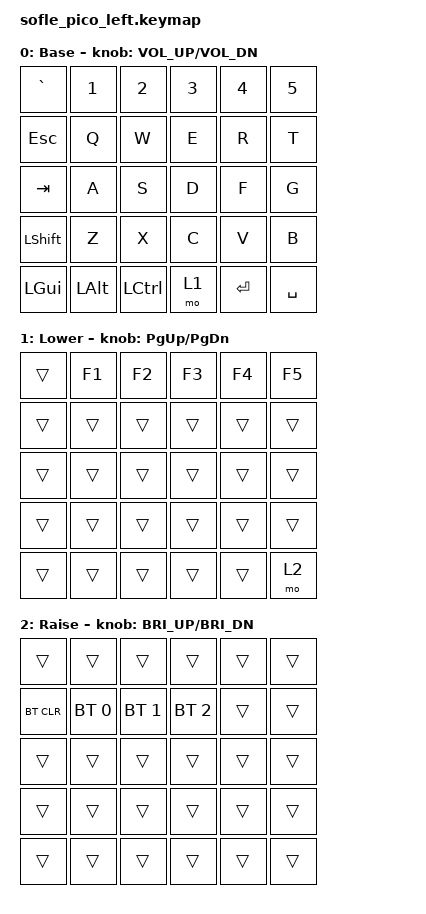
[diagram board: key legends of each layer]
#include <behaviors.dtsi>
#include <dt-bindings/zmk/keys.h>
#include <dt-bindings/zmk/bt.h>

/ {
    keymap {
        compatible = "zmk,keymap";

        default_layer {
            display-name = "Base";
            bindings = <
                &kp GRAVE  &kp N1   &kp N2   &kp N3  &kp N4   &kp N5
                &kp ESC    &kp Q    &kp W    &kp E   &kp R    &kp T
                &kp TAB    &kp A    &kp S    &kp D   &kp F    &kp G
                &kp LSHFT  &kp Z    &kp X    &kp C   &kp V    &kp B
                &kp LGUI   &kp LALT &kp LCTL &mo 1   &kp RET  &kp SPACE
            >;
            sensor-bindings = <&inc_dec_kp C_VOL_UP C_VOL_DN>;
        };

        lower_layer {
            display-name = "Lower";
            bindings = <
                &trans  &kp F1  &kp F2  &kp F3  &kp F4  &kp F5
                &trans  &trans  &trans  &trans  &trans  &trans
                &trans  &trans  &trans  &trans  &trans  &trans
                &trans  &trans  &trans  &trans  &trans  &trans
                &trans  &trans  &trans  &trans  &trans  &mo 2
            >;
            sensor-bindings = <&inc_dec_kp PG_UP PG_DN>;
        };

        raise_layer {
            display-name = "Raise";
            bindings = <
                &trans      &trans       &trans       &trans       &trans  &trans
                &bt BT_CLR  &bt BT_SEL 0 &bt BT_SEL 1 &bt BT_SEL 2 &trans &trans
                &trans      &trans       &trans       &trans       &trans  &trans
                &trans      &trans       &trans       &trans       &trans  &trans
                &trans      &trans       &trans       &trans       &trans  &trans
            >;
            sensor-bindings = <&inc_dec_kp C_BRI_UP C_BRI_DN>;
        };
    };
};
